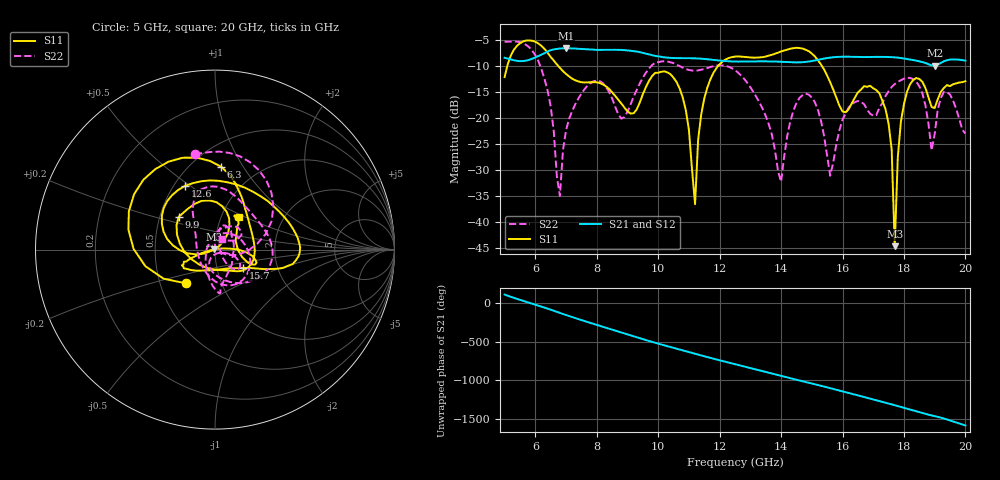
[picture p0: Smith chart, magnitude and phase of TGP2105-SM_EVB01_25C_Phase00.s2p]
! Date: Wednesday, June 05, 2013  1:49 PM
! Filename: C:\Data\Mike_Arnold\TGP2105-SM\Over_Temp\TGP2105-SM_EVB01_25C_Phase0.s2p
! Comments:
!^VDC(V):5.000
!^VDC(mA):0.010
!%Freq(GHz),S11(dB),S11(ang),S21(dB),S21(ang),S12(dB),S12(ang),S22(dB),S22(ang)
# GHz  S  DB  R  50
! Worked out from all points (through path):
!   151 points, 5 GHz to 20 GHz, reference 50 ohm
!   highest |S21| = -6.57 dB at 7 GHz (marker M1); lowest = -9.9 dB at 19 GHz (marker M2)
!   lowest |S11| = -44.6 dB at 17.7 GHz (marker M3), VSWR 1.01, Z = 49.4 + j0.177 ohm
!   |S11| at or under -10 dB: start of sweep to 5.086 GHz; 6.752 GHz to 11.95 GHz (5.197 GHz wide, 55.6 % of centre); 15.33 GHz to end of sweep
!   |S22| runs from -35.0 to -5.2 dB; largest |S21 - S12| = 0.002
!   S11 on the Smith chart (normalised r, x): 5 GHz: 0.68, -0.27; 6.3 GHz: 0.69, +0.81; 9.9 GHz: 0.63, +0.25; 12.6 GHz: 0.57, +0.48; 15.7 GHz: 1.34, -0.28; 20 GHz: 1.21, +0.47
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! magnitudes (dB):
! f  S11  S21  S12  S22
! 5 GHz  -12.1  -8.4  -8.4  -5.3
! 6.3 GHz  -6.7  -7.5  -7.5  -12.5
! 6.8 GHz  -10.3  -6.6  -6.6  -35.0
! 7 GHz  -11.5  -6.6  -6.6  -22.3
! 7.5 GHz  -13.1  -6.7  -6.7  -15.3
! 8.8 GHz  -17.2  -6.9  -6.9  -20.1
! 9.9 GHz  -11.3  -8.0  -8.1  -9.3
! 10 GHz  -11.3  -8.1  -8.2  -9.2
! 10.8 GHz  -16.0  -8.5  -8.5  -10.3
! 11.2 GHz  -36.6  -8.5  -8.5  -10.9
! 11.5 GHz  -16.2  -8.6  -8.6  -10.5
! 12.5 GHz  -8.2  -9.1  -9.1  -10.8
! 12.6 GHz  -8.1  -9.1  -9.1  -11.3
! 14 GHz  -7.2  -9.2  -9.2  -32.2
! 15 GHz  -7.6  -9.0  -9.0  -16.0
! 15.7 GHz  -14.5  -8.3  -8.3  -28.5
! 17.5 GHz  -21.1  -8.2  -8.3  -14.8
! 17.7 GHz  -44.6  -8.3  -8.3  -13.4
! 17.8 GHz  -27.5  -8.4  -8.4  -13.0
! 18.1 GHz  -14.9  -8.6  -8.7  -12.2
! 19 GHz  -18.1  -9.9  -9.9  -23.0
! 20 GHz  -12.9  -8.9  -9.0  -23.0
